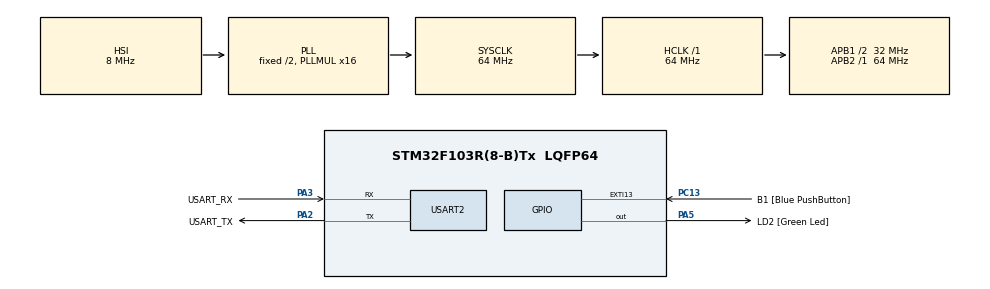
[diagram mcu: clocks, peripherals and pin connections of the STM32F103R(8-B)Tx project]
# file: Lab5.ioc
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FREERTOS.Tasks01=LED_Task,1,128,StartLEDTask,Default,NULL,Dynamic,NULL,NULL;CLI_Receive,0,256,StartCLIReceiveTask,Default,NULL,Dynamic,NULL,NULL;CLI_Update,-1,128,StartCLIUpdateTask,Default,NULL,Dynamic,NULL,NULL
FREERTOS.configUSE_NEWLIB_REENTRANT=0
Mcu.Family=STM32F1
Mcu.Name=STM32F103R(8-B)Tx
Mcu.Package=LQFP64
NVIC.EXTI15_10_IRQn=true\:5\:0\:false\:false\:true\:true\:true\:true\:true
NVIC.PriorityGroup=NVIC_PRIORITYGROUP_4
NVIC.TIM4_IRQn=true\:15\:0\:false\:false\:true\:false\:false\:true\:true
NVIC.TimeBase=TIM4_IRQn
NVIC.TimeBaseIP=TIM4
PA13.GPIO_Label=TMS
PA13.Mode=Serial_Wire
PA13.Signal=SYS_JTMS-SWDIO
PA14.GPIO_Label=TCK
PA14.Mode=Serial_Wire
PA14.Signal=SYS_JTCK-SWCLK
PA2.GPIO_Label=USART_TX
PA2.GPIO_Mode=GPIO_MODE_AF_PP
PA2.GPIO_PuPd=GPIO_NOPULL
PA2.GPIO_Speed=GPIO_SPEED_FREQ_LOW
PA2.Mode=Asynchronous
PA2.Signal=USART2_TX
PA3.GPIO_Label=USART_RX
PA3.GPIO_Mode=GPIO_MODE_AF_PP
PA3.GPIO_PuPd=GPIO_NOPULL
PA3.GPIO_Speed=GPIO_SPEED_FREQ_LOW
PA3.Mode=Asynchronous
PA3.Signal=USART2_RX
PA5.GPIO_Label=LD2 [Green Led]
PA5.GPIO_ModeDefaultOutputPP=GPIO_MODE_OUTPUT_PP
PA5.GPIO_PuPd=GPIO_NOPULL
PA5.GPIO_Speed=GPIO_SPEED_FREQ_LOW
PA5.Signal=GPIO_Output
PB3.GPIO_Label=SWO
PB3.Signal=SYS_JTDO-TRACESWO
PC13-TAMPER-RTC.GPIO_Label=B1 [Blue PushButton]
PC13-TAMPER-RTC.GPIO_PuPd=GPIO_NOPULL
PC13-TAMPER-RTC.Signal=GPXTI13
PC14-OSC32_IN.Mode=LSE-External-Oscillator
PC14-OSC32_IN.Signal=RCC_OSC32_IN
PC15-OSC32_OUT.Mode=LSE-External-Oscillator
PC15-OSC32_OUT.Signal=RCC_OSC32_OUT
PD0-OSC_IN.Mode=HSE-External-Clock-Source
PD0-OSC_IN.Signal=RCC_OSC_IN
PD1-OSC_OUT.Mode=HSE-External-Clock-Source
PD1-OSC_OUT.Signal=RCC_OSC_OUT
ProjectManager.HeapSize=0x200
ProjectManager.StackSize=0x400
ProjectManager.TargetToolchain=STM32CubeIDE
RCC.AHBFreq_Value=64000000
RCC.APB1CLKDivider=RCC_HCLK_DIV2
RCC.APB1Freq_Value=32000000
RCC.APB1TimFreq_Value=64000000
RCC.APB2Freq_Value=64000000
RCC.APB2TimFreq_Value=64000000
RCC.HCLKFreq_Value=64000000
RCC.PLLMUL=RCC_PLL_MUL16
RCC.RTCClockSelection=RCC_RTCCLKSOURCE_LSE
RCC.SYSCLKFreq_VALUE=64000000
RCC.SYSCLKSource=RCC_SYSCLKSOURCE_PLLCLK
RCC.USBFreq_Value=64000000
USART2.VirtualMode=VM_ASYNC
VP_FREERTOS_VS_CMSIS_V1.Mode=CMSIS_V1
VP_SYS_VS_tim4.Mode=TIM4
board=NUCLEO-F103RB

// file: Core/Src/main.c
/* USER CODE BEGIN Header */
/**
  ******************************************************************************
  * @file           : main.c
  * @brief          : Main program body
  ******************************************************************************
  * @attention
  *
  * Copyright (c) 2024 STMicroelectronics.
  * All rights reserved.
  *
  * This software is licensed under terms that can be found in the LICENSE file
  * in the root directory of this software component.
  * If no LICENSE file comes with this software, it is provided AS-IS.
  *
  ******************************************************************************
  */
/* USER CODE END Header */
#include "main.h"
#include "cmsis_os.h"
#include <string.h>
#include <stdio.h>
#include <stdlib.h>

/* USER CODE BEGIN Includes */
// Forward declarations
char cliBufferTX[100];
void printStringBlocking(const char *str);
void welcomeMessage(void);
/* USER CODE END Includes */

UART_HandleTypeDef huart2;

osThreadId LED_TaskHandle;
osThreadId CLI_ReceiveHandle;
osThreadId CLI_UpdateHandle;
/* USER CODE BEGIN PV */
QueueHandle_t periodQueue;

/* USER CODE END PV */

void SystemClock_Config(void);
static void MX_GPIO_Init(void);
static void MX_USART2_UART_Init(void);
void StartLEDTask(void const * argument);
void StartCLIReceiveTask(void const * argument);
void StartCLIUpdateTask(void const * argument);

int main(void)
{

  /* MCU Configuration--------------------------------------------------------*/

  /* Reset of all peripherals, Initializes the Flash interface and the Systick. */
  HAL_Init();

  /* Configure the system clock */
  SystemClock_Config();

  /* Initialize all configured peripherals */
  MX_GPIO_Init();
  MX_USART2_UART_Init();

  // Initial screen setup
  // Initial screen setup
  strcpy(cliBufferTX, "\x1b[2J");  // ANSI escape code for clearing screen
  CLI_Transmit(cliBufferTX); // Clear entire screen
  HAL_Delay(500);

  // Print a welcome message
  welcomeMessage();
  HAL_Delay(2000);

  // Clear the screen and set up initial cursor position and scrolling
  CLI_Transmit("\x1b[2J");               // Clear entire screen
  CLI_Transmit("\x1b[5;1H");             // Move cursor to row 5, column 1
  CLI_Transmit("\x1b[5;1r");             // Set scrolling region from row 5 to bottom
  CLI_Transmit("\x1b[5;1H");             // Move cursor back to row 5, column 1
  CLI_Transmit("Waiting for Command...\n"); // Initial prompt for the user

  // FreeRTOS setup
  periodQueue = xQueueCreate(1, sizeof(uint32_t));
  if (periodQueue == NULL) {
      Error_Handler();
  }
  /* start timers, add new ones, ... */
  /* USER CODE END RTOS_TIMERS */

  /* Create the thread(s) */
  /* definition and creation of LED_Task */
  osThreadDef(LED_Task, StartLEDTask, osPriorityAboveNormal, 0, 128);
  LED_TaskHandle = osThreadCreate(osThread(LED_Task), NULL);

  /* definition and creation of CLI_Receive */
  osThreadDef(CLI_Receive, StartCLIReceiveTask, osPriorityNormal, 0, 256);
  CLI_ReceiveHandle = osThreadCreate(osThread(CLI_Receive), NULL);

  /* definition and creation of CLI_Update */
  osThreadDef(CLI_Update, StartCLIUpdateTask, osPriorityBelowNormal, 0, 128);
  CLI_UpdateHandle = osThreadCreate(osThread(CLI_Update), NULL);

  /* Start scheduler */
  osKernelStart();

  /* We should never get here as control is now taken by the scheduler */

  /* Infinite loop */
  while (1)
  {

  }
}

void SystemClock_Config(void)
{
  RCC_OscInitTypeDef RCC_OscInitStruct = {0};
  RCC_ClkInitTypeDef RCC_ClkInitStruct = {0};

  /** Initializes the RCC Oscillators according to the specified parameters
  * in the RCC_OscInitTypeDef structure.
  */
  RCC_OscInitStruct.OscillatorType = RCC_OSCILLATORTYPE_HSI;
  RCC_OscInitStruct.HSIState = RCC_HSI_ON;
  RCC_OscInitStruct.HSICalibrationValue = RCC_HSICALIBRATION_DEFAULT;
  RCC_OscInitStruct.PLL.PLLState = RCC_PLL_ON;
  RCC_OscInitStruct.PLL.PLLSource = RCC_PLLSOURCE_HSI_DIV2;
  RCC_OscInitStruct.PLL.PLLMUL = RCC_PLL_MUL16;
  if (HAL_RCC_OscConfig(&RCC_OscInitStruct) != HAL_OK)
  {
    Error_Handler();
  }

  /** Initializes the CPU, AHB and APB buses clocks
  */
  RCC_ClkInitStruct.ClockType = RCC_CLOCKTYPE_HCLK|RCC_CLOCKTYPE_SYSCLK
                              |RCC_CLOCKTYPE_PCLK1|RCC_CLOCKTYPE_PCLK2;
  RCC_ClkInitStruct.SYSCLKSource = RCC_SYSCLKSOURCE_PLLCLK;
  RCC_ClkInitStruct.AHBCLKDivider = RCC_SYSCLK_DIV1;
  RCC_ClkInitStruct.APB1CLKDivider = RCC_HCLK_DIV2;
  RCC_ClkInitStruct.APB2CLKDivider = RCC_HCLK_DIV1;

  if (HAL_RCC_ClockConfig(&RCC_ClkInitStruct, FLASH_LATENCY_2) != HAL_OK)
  {
    Error_Handler();
  }
}

static void MX_USART2_UART_Init(void)
{

  huart2.Instance = USART2;
  huart2.Init.BaudRate = 115200;
  huart2.Init.WordLength = UART_WORDLENGTH_8B;
  huart2.Init.StopBits = UART_STOPBITS_1;
  huart2.Init.Parity = UART_PARITY_NONE;
  huart2.Init.Mode = UART_MODE_TX_RX;
  huart2.Init.HwFlowCtl = UART_HWCONTROL_NONE;
  huart2.Init.OverSampling = UART_OVERSAMPLING_16;
  if (HAL_UART_Init(&huart2) != HAL_OK)
  {
    Error_Handler();
  }

}

static void MX_GPIO_Init(void)
{
  GPIO_InitTypeDef GPIO_InitStruct = {0};

  /* GPIO Ports Clock Enable */
  __HAL_RCC_GPIOC_CLK_ENABLE();
  __HAL_RCC_GPIOD_CLK_ENABLE();
  __HAL_RCC_GPIOA_CLK_ENABLE();
  __HAL_RCC_GPIOB_CLK_ENABLE();

  /*Configure GPIO pin Output Level */
  HAL_GPIO_WritePin(LD2_GPIO_Port, LD2_Pin, GPIO_PIN_RESET);

  /*Configure GPIO pin : B1_Pin */
  GPIO_InitStruct.Pin = B1_Pin;
  GPIO_InitStruct.Mode = GPIO_MODE_IT_RISING;
  GPIO_InitStruct.Pull = GPIO_NOPULL;
  HAL_GPIO_Init(B1_GPIO_Port, &GPIO_InitStruct);

  /*Configure GPIO pin : LD2_Pin */
  GPIO_InitStruct.Pin = LD2_Pin;
  GPIO_InitStruct.Mode = GPIO_MODE_OUTPUT_PP;
  GPIO_InitStruct.Pull = GPIO_NOPULL;
  GPIO_InitStruct.Speed = GPIO_SPEED_FREQ_LOW;
  HAL_GPIO_Init(LD2_GPIO_Port, &GPIO_InitStruct);

  /* EXTI interrupt init*/
  HAL_NVIC_SetPriority(EXTI15_10_IRQn, 5, 0);
  HAL_NVIC_EnableIRQ(EXTI15_10_IRQn);

}

/* USER CODE BEGIN 4 */

void CLI_Transmit(const char *message) {
    HAL_UART_Transmit(&huart2, (uint8_t*)message, strlen(message), HAL_MAX_DELAY);
}

void welcomeMessage(void) {
    CLI_Transmit("\x1b[2J");               // Clear the entire screen
    CLI_Transmit("\x1b[1;1H");             // Move cursor to row 1, column 1
    CLI_Transmit("  Welcome to the CLI Interface\n");
    CLI_Transmit("Commands:\n");
    CLI_Transmit("  - Type 'LED_RATE=<value>' to set LED blink rate\n");

}

#define RX_BUFFER_SIZE 100
char rx_buffer[RX_BUFFER_SIZE];

int CLI_Receive(char *buffer, uint16_t buffer_size) {
    uint16_t index = 0;
    uint8_t rx_char;

    // Loop to receive characters until a newline or buffer limit is reached
    while (index < buffer_size - 1) {
        // Blocking receive for a single character
        if (HAL_UART_Receive(&huart2, &rx_char, 1, HAL_MAX_DELAY) == HAL_OK) {
            // Echo the character back to the terminal
            HAL_UART_Transmit(&huart2, &rx_char, 1, HAL_MAX_DELAY);

            // Check for Enter key (carriage return or line feed)
            if (rx_char == '\r' || rx_char == '\n') {
                buffer[index] = '\0';  // Null-terminate the string
                return 1;  // Successful reception
            } else {
                buffer[index++] = rx_char;  // Append character to buffer
            }
        } else {
            return 0;  // Reception error
        }
    }

    buffer[index] = '\0';  // Null-terminate if buffer limit is reached
    return 1;
}

/* USER CODE END 4 */

void StartLEDTask(void const * argument)
{
    uint32_t blink_period = 500;  // Default period in milliseconds

    for (;;) {
        // Check if there’s a new period available in the queue
        if (xQueueReceive(periodQueue, &blink_period, 0) == pdPASS) {
            CLI_Transmit("LED Period Updated\n");
        }

        // Toggle LED and delay according to the current period
        HAL_GPIO_TogglePin(GPIOA, GPIO_PIN_5);
        osDelay(blink_period);
    }
}

void StartCLIReceiveTask(void const * argument)
{
    char command_buffer[RX_BUFFER_SIZE];
    uint32_t current_period = 500;  // Default initial period

    for (;;) {
        // Clear the screen and set a consistent layout
        CLI_Transmit("\x1b[2J");       // Clear the entire screen
        CLI_Transmit("\x1b[1;1H");     // Move cursor to the top-left corner

        // Display the current LED rate at the top
        char rate_message[50];
        snprintf(rate_message, sizeof(rate_message), "Current LED Rate: %lu ms\n", current_period);
        CLI_Transmit("\n To update LED Rate, use command LED_RATE=X, X being the rate               \n");
        CLI_Transmit(rate_message);

        // Display the prompt for command input at a fixed line
        CLI_Transmit("\x1b[6;1H");  // Move cursor to row 6, column 1
        CLI_Transmit("> ");         // Prompt symbol for user input

        // Receive command input
        if (CLI_Receive(command_buffer, RX_BUFFER_SIZE)) {
            // Move to a fixed position to display the received command
            CLI_Transmit("\x1b[8;1H");  // Move cursor to row 8, column 1
            CLI_Transmit("Received: ");
            CLI_Transmit(command_buffer);
            CLI_Transmit("\n");

            // Process the LED rate command
            if (strncmp(command_buffer, "LED_RATE=", 9) == 0) {
                uint32_t new_period = atoi(command_buffer + 9); // Parse the period from command
                xQueueSend(periodQueue, &new_period, 0);        // Send the new period to the LED Task
                current_period = new_period;                    // Update current period locally

                // Display confirmation message on a fixed line
                CLI_Transmit("\x1b[10;1H");  // Move to row 10 for status update
                CLI_Transmit("LED Rate Updated\n");
            } else {
                CLI_Transmit("\x1b[10;1H");  // Move to row 10 for error message
                CLI_Transmit("Invalid command. Use LED_RATE=<value>\n");
            }

            // Add a line break after processing the command
            CLI_Transmit("------------------------------------\n");
        }

        // Small delay before showing the prompt again
        osDelay(500);
    }
}

void StartCLIUpdateTask(void const * argument)
{
    uint32_t current_period = 500;
    char message[50];

    for (;;) {
        // Display the current LED rate at the top of the screen
        CLI_Transmit("\x1b[5;1H");  // Move cursor to row 5, column 1
        snprintf(message, sizeof(message), "Current LED Rate: %lu ms\n", current_period);
        CLI_Transmit(message);

        // Update period from queue if available
        if (xQueuePeek(periodQueue, &current_period, 0) == pdPASS) {
            snprintf(message, sizeof(message), "Updated LED Rate: %lu ms\n", current_period);
            CLI_Transmit("\x1b[7;1H"); // Update at row 7, column 1
            CLI_Transmit(message);
        }

        // Delay before updating again
        osDelay(1000);  // Update every 1 second
    }
}

void HAL_TIM_PeriodElapsedCallback(TIM_HandleTypeDef *htim)
{
  if (htim->Instance == TIM4) {
    HAL_IncTick();
  }
}

void Error_Handler(void)
{
  __disable_irq();
  while (1)
  {
  }
}
